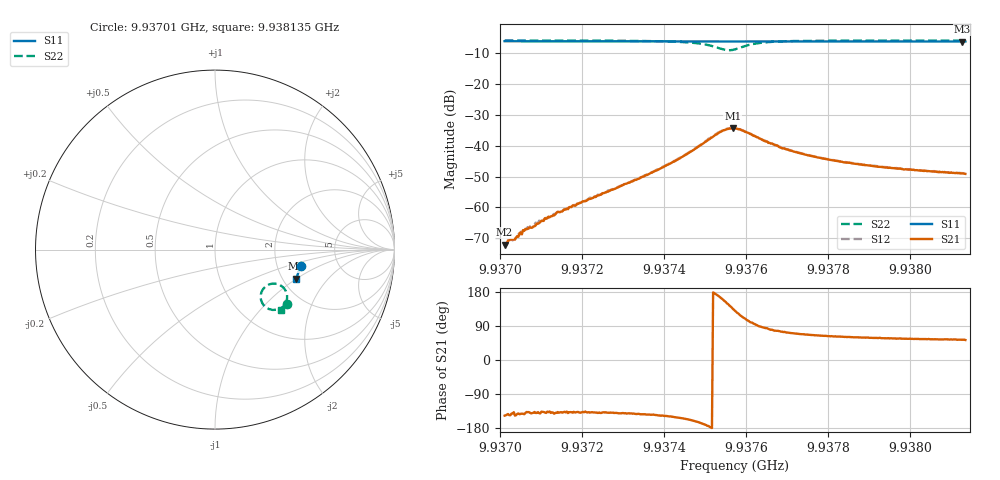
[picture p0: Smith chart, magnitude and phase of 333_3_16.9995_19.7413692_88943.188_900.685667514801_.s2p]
#  HZ  S  RI  R  50.00
! Rohde & Schwarz Vector Network Analyzer
! Rohde-Schwarz,ZNB20-2Port,1311601062101988,3.16
! Created: UTC 3/20/2024, 11:07:00 PM
! freq[Hz]  re:S11  im:S11  re:S21  im:S21  re:S12  im:S12  re:S22  im:S22
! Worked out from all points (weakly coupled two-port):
!   401 points, 9.93701 GHz to 9.938135 GHz, reference 50 ohm
!   highest |S21| = -34.41 dB at 9.937567 GHz (marker M1); lowest = -72.0 dB at 9.93701 GHz (marker M2)
!   lowest |S11| = -6.4 dB at 9.938126 GHz (marker M3), VSWR 2.85, Z = 118 - j49.5 ohm
!   |S11| at or under -10 dB: nowhere
!   |S22| runs from -9.2 to -6.0 dB; largest |S21 - S12| = 0.00088
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9.9370102e9  0.4765 -0.0888  -0.000211 -0.000138  -0.000215 -0.000101  0.3985 -0.3007
9.9370243e9  0.4762 -0.0896  -0.000253 -0.000172  -0.000245 -0.000169  0.3975 -0.3016
9.9370383e9  0.4759 -0.0907  -0.000271 -0.000186  -0.000267 -0.000205  0.3963 -0.3026
9.9370608e9  0.4756 -0.0924  -0.000345 -0.000291  -0.000343 -0.000255  0.3951 -0.3041
9.9370805e9  0.4752 -0.0937  -0.000374 -0.000323  -0.000406 -0.000338  0.3935 -0.3055
9.9371142e9  0.4745 -0.0958  -0.000482 -0.000461  -0.000533 -0.000425  0.3911 -0.3082
9.9371985e9  0.473 -0.1016  -0.00091 -0.00082  -0.000909 -0.000802  0.3835 -0.3146
9.9373869e9  0.4691 -0.1142  -0.00344 -0.0023  -0.00353 -0.00227  0.3525 -0.3325
9.9374543e9  0.4674 -0.1189  -0.00658 -0.00295  -0.00677 -0.00287  0.3229 -0.3361
9.9374993e9  0.4659 -0.122  -0.0112 -0.00183  -0.0115 -0.00167  0.2854 -0.3225
9.9375387e9  0.4643 -0.1236  -0.0161 0.00493  -0.0163 0.00533  0.2544 -0.263
9.9375527e9  0.4639 -0.1242  -0.0158 0.0094  -0.0159 0.00983  0.2627 -0.229
9.9375668e9  0.4637 -0.1246  -0.0136 0.0133  -0.0134 0.0139  0.2878 -0.2012
9.9375724e9  0.4639 -0.1248  -0.0121 0.0145  -0.0119 0.0149  0.3011 -0.1945
9.9376033e9  0.4641 -0.1264  -0.00404 0.0156  -0.0036 0.0158  0.366 -0.2002
9.9376314e9  0.4639 -0.1284  0.000249 0.0131  0.000475 0.0132  0.3924 -0.2279
9.9376848e9  0.4631 -0.1324  0.00245 0.00893  0.00265 0.00908  0.4018 -0.2661
9.9377607e9  0.4614 -0.1374  0.00276 0.00616  0.00295 0.00612  0.3964 -0.2926
9.9378422e9  0.4595 -0.1432  0.00257 0.00466  0.00272 0.00465  0.3891 -0.3078
9.9379491e9  0.4569 -0.1501  0.00238 0.00367  0.00246 0.00368  0.3805 -0.3205
9.9381261e9  0.452 -0.1616  0.00212 0.00285  0.00221 0.00284  0.3684 -0.3347
9.9381346e9  0.452 -0.162  0.00211 0.00278  0.00218 0.00283  0.3678 -0.3353
